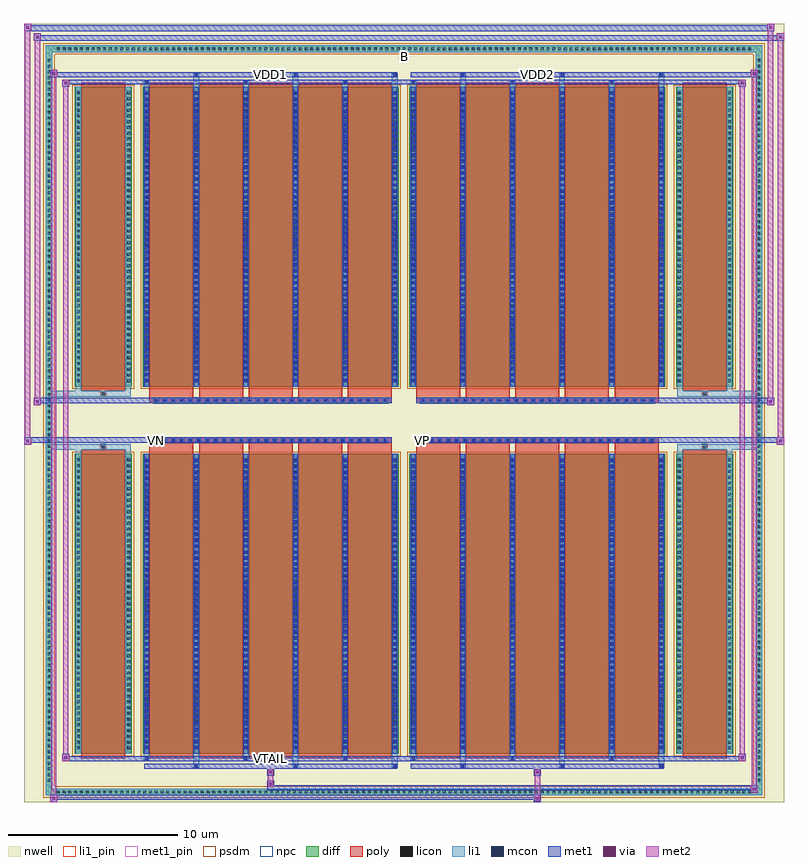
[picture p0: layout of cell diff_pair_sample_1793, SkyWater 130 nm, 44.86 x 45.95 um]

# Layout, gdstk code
import gdstk
lib = gdstk.Library(unit=1e-6, precision=5e-09)
def R(c, l, rs):  # rectangles x0, y0, x1, y1
    for r in rs: c.add(gdstk.rectangle(r[:2], r[2:], *l))
def A(c, l, x, y, w, h, nx, ny, dx, dy):  # array of equal rectangles
    R(c, l, [(x+i*dx, y+j*dy, x+i*dx+w, y+j*dy+h) for i in range(nx) for j in range(ny)])
def P(c, l, *ps):  # polygons
    for p in ps: c.add(gdstk.Polygon(p, *l))
nwell = (64, 20)
diff = (65, 20)
poly = (66, 20)
licon = (66, 44)
li1_pin = (67, 16)
li1 = (67, 20)
mcon = (67, 44)
met1_pin = (68, 16)
met1 = (68, 20)
via = (68, 44)
met2 = (69, 20)
psdm = (94, 20)
npc = (95, 20)

diff_pair_sample_1793 = lib.new_cell('diff_pair_sample_1793')
R(diff_pair_sample_1793, nwell, [(-22.43,-22.54,22.43,23.41), (-19.75,-20.73,-0.01,-0.805), (0.01,-20.73,19.75,-0.805), (-19.75,0.805,-0.01,20.73), (0.01,0.805,19.75,20.73)])
A(diff_pair_sample_1793, diff, -20.605, -22.14, 0.41, 0.41, 121, 2, 0.34, 43.87)
A(diff_pair_sample_1793, diff, -21.16, -21.455, 0.41, 0.41, 1, 126, 0, 0.34)
A(diff_pair_sample_1793, diff, 20.75, -21.455, 0.41, 0.41, 1, 126, 0, 0.34)
R(diff_pair_sample_1793, diff, [(-20.605,-22.14,20.605,-21.73), (-21.16,-21.455,-20.75,21.455), (20.75,-21.455,21.16,21.455), (-19.44,-19.685,-16.06,-1.985), (-15.42,-19.685,-0.32,-1.985), (0.32,-19.685,15.42,-1.985), (16.06,-19.685,19.44,-1.985), (-19.44,1.985,-16.06,19.685), (-15.42,1.985,-0.32,19.685), (0.32,1.985,15.42,19.685), (16.06,1.985,19.44,19.685), (-20.605,21.73,20.605,22.14)])
P(diff_pair_sample_1793, diff, [(21.16,22.14),(-21.16,22.14),(-21.16,-21.73),(-20.75,-21.73),(-20.75,21.73),(20.75,21.73),(20.75,-21.73),(-20.75,-21.73),(-21.16,-21.73),(-21.16,-22.14),(21.16,-22.14)])
A(diff_pair_sample_1793, poly, -15.03, -19.935, 2.6, 18.2, 5, 2, 2.93, 21.67)
A(diff_pair_sample_1793, poly, 0.71, -19.935, 2.6, 18.2, 5, 2, 2.93, 21.67)
A(diff_pair_sample_1793, poly, -15.03, -1.735, 2.6, 0.4, 5, 2, 2.93, 3.07)
A(diff_pair_sample_1793, poly, 0.71, -1.735, 2.6, 0.4, 5, 2, 2.93, 3.07)
A(diff_pair_sample_1793, poly, -14.785, -1.335, 0.33, 0.33, 28, 2, 0.5, 2.34)
A(diff_pair_sample_1793, poly, 0.955, -1.335, 0.33, 0.33, 28, 2, 0.5, 2.34)
R(diff_pair_sample_1793, poly, [(-19.05,-19.935,-16.45,-1.735), (16.45,-19.935,19.05,-1.735), (-17.915,-1.735,-17.585,-1.405), (-17.915,-1.735,-17.585,-1.405), (17.585,-1.735,17.915,-1.405), (17.585,-1.735,17.915,-1.405), (-15.03,-1.335,-0.71,-1.005), (0.71,-1.335,15.03,-1.005), (-15.03,1.005,-0.71,1.335), (0.71,1.005,15.03,1.335), (-17.915,1.405,-17.585,1.735), (-17.915,1.405,-17.585,1.735), (17.585,1.405,17.915,1.735), (17.585,1.405,17.915,1.735), (-19.05,1.735,-16.45,19.935), (16.45,1.735,19.05,19.935)])
A(diff_pair_sample_1793, licon, -20.485, -22.02, 0.17, 0.17, 121, 2, 0.34, 43.87)
A(diff_pair_sample_1793, licon, -21.04, -21.335, 0.17, 0.17, 1, 126, 0, 0.34)
A(diff_pair_sample_1793, licon, 20.87, -21.335, 0.17, 0.17, 1, 126, 0, 0.34)
A(diff_pair_sample_1793, licon, -19.3, -19.42, 0.17, 0.17, 1, 51, 0, 0.34)
A(diff_pair_sample_1793, licon, -16.37, -19.42, 0.17, 0.17, 1, 51, 0, 0.34)
A(diff_pair_sample_1793, licon, -15.28, -19.42, 0.17, 0.17, 6, 51, 2.93, 0.34)
A(diff_pair_sample_1793, licon, 0.46, -19.42, 0.17, 0.17, 6, 51, 2.93, 0.34)
A(diff_pair_sample_1793, licon, 16.2, -19.42, 0.17, 0.17, 1, 51, 0, 0.34)
A(diff_pair_sample_1793, licon, 19.13, -19.42, 0.17, 0.17, 1, 51, 0, 0.34)
A(diff_pair_sample_1793, licon, -14.705, -1.255, 0.17, 0.17, 28, 2, 0.5, 2.34)
A(diff_pair_sample_1793, licon, 1.035, -1.255, 0.17, 0.17, 28, 2, 0.5, 2.34)
A(diff_pair_sample_1793, licon, -19.3, 2.25, 0.17, 0.17, 1, 51, 0, 0.34)
A(diff_pair_sample_1793, licon, -16.37, 2.25, 0.17, 0.17, 1, 51, 0, 0.34)
A(diff_pair_sample_1793, licon, -15.28, 2.25, 0.17, 0.17, 6, 51, 2.93, 0.34)
A(diff_pair_sample_1793, licon, 0.46, 2.25, 0.17, 0.17, 6, 51, 2.93, 0.34)
A(diff_pair_sample_1793, licon, 16.2, 2.25, 0.17, 0.17, 1, 51, 0, 0.34)
A(diff_pair_sample_1793, licon, 19.13, 2.25, 0.17, 0.17, 1, 51, 0, 0.34)
R(diff_pair_sample_1793, licon, [(-17.835,-1.655,-17.665,-1.485), (17.665,-1.655,17.835,-1.485), (-17.835,1.485,-17.665,1.655), (17.665,1.485,17.835,1.655)])
R(diff_pair_sample_1793, li1_pin, [(-0.25,21.23,0.25,21.73)])
A(diff_pair_sample_1793, li1, -20.565, -22.1, 0.33, 0.33, 121, 2, 0.34, 43.87)
A(diff_pair_sample_1793, li1, -21.12, -21.415, 0.33, 0.33, 1, 126, 0, 0.34)
A(diff_pair_sample_1793, li1, 20.79, -21.415, 0.33, 0.33, 1, 126, 0, 0.34)
A(diff_pair_sample_1793, li1, -12.43, -20.49, 0.33, 0.805, 3, 2, 5.86, 40.175)
A(diff_pair_sample_1793, li1, -12.35, -20.49, 0.17, 0.17, 3, 2, 5.86, 40.81)
A(diff_pair_sample_1793, li1, 3.31, -20.49, 0.33, 0.805, 3, 2, 5.86, 40.175)
A(diff_pair_sample_1793, li1, 3.39, -20.49, 0.17, 0.17, 3, 2, 5.86, 40.81)
A(diff_pair_sample_1793, li1, -15.36, -20.06, 0.33, 0.375, 3, 2, 5.86, 39.745)
A(diff_pair_sample_1793, li1, -15.28, -20.06, 0.17, 0.17, 3, 2, 5.86, 39.95)
A(diff_pair_sample_1793, li1, 0.38, -20.06, 0.33, 0.375, 3, 2, 5.86, 39.745)
A(diff_pair_sample_1793, li1, 0.46, -20.06, 0.17, 0.17, 3, 2, 5.86, 39.95)
A(diff_pair_sample_1793, li1, -15.36, -19.685, 0.33, 17.7, 6, 2, 2.93, 21.67)
A(diff_pair_sample_1793, li1, 0.38, -19.685, 0.33, 17.7, 6, 2, 2.93, 21.67)
A(diff_pair_sample_1793, li1, -19.38, -19.5, 0.33, 0.33, 1, 51, 0, 0.34)
A(diff_pair_sample_1793, li1, -16.45, -19.5, 0.33, 0.33, 1, 51, 0, 0.34)
A(diff_pair_sample_1793, li1, -15.36, -19.5, 0.33, 0.33, 6, 51, 2.93, 0.34)
A(diff_pair_sample_1793, li1, 0.38, -19.5, 0.33, 0.33, 6, 51, 2.93, 0.34)
A(diff_pair_sample_1793, li1, 16.12, -19.5, 0.33, 0.33, 1, 51, 0, 0.34)
A(diff_pair_sample_1793, li1, 19.05, -19.5, 0.33, 0.33, 1, 51, 0, 0.34)
A(diff_pair_sample_1793, li1, -15.28, -19.38, 0.17, 0.17, 6, 48, 2.93, 0.36)
A(diff_pair_sample_1793, li1, -15.28, -19.38, 0.17, 17.09, 6, 2, 2.93, 21.67)
A(diff_pair_sample_1793, li1, 0.46, -19.38, 0.17, 0.17, 6, 48, 2.93, 0.36)
A(diff_pair_sample_1793, li1, 0.46, -19.38, 0.17, 17.09, 6, 2, 2.93, 21.67)
A(diff_pair_sample_1793, li1, -14.785, -1.335, 0.33, 0.33, 28, 2, 0.5, 2.34)
A(diff_pair_sample_1793, li1, 0.955, -1.335, 0.33, 0.33, 28, 2, 0.5, 2.34)
A(diff_pair_sample_1793, li1, -19.38, 2.17, 0.33, 0.33, 1, 51, 0, 0.34)
A(diff_pair_sample_1793, li1, -16.45, 2.17, 0.33, 0.33, 1, 51, 0, 0.34)
A(diff_pair_sample_1793, li1, -15.36, 2.17, 0.33, 0.33, 6, 51, 2.93, 0.34)
A(diff_pair_sample_1793, li1, 0.38, 2.17, 0.33, 0.33, 6, 51, 2.93, 0.34)
A(diff_pair_sample_1793, li1, 16.12, 2.17, 0.33, 0.33, 1, 51, 0, 0.34)
A(diff_pair_sample_1793, li1, 19.05, 2.17, 0.33, 0.33, 1, 51, 0, 0.34)
A(diff_pair_sample_1793, li1, -15.28, 2.29, 0.17, 0.17, 6, 48, 2.93, 0.36)
A(diff_pair_sample_1793, li1, 0.46, 2.29, 0.17, 0.17, 6, 48, 2.93, 0.36)
R(diff_pair_sample_1793, li1, [(-21.16,-22.14,-20.75,-21.73), (-21.16,-22.14,-20.75,-21.73), (-20.75,-22.14,20.75,-21.73), (20.75,-22.14,21.16,-21.73), (20.75,-22.14,21.16,-21.73), (-21.16,-21.73,-20.75,21.73), (20.75,-21.73,21.16,21.73), (-19.38,-19.685,-19.05,-1.985), (-16.45,-19.685,-16.12,-1.985), (16.12,-19.685,16.45,-1.985), (19.05,-19.685,19.38,-1.985), (-19.38,-1.985,-19.05,-1.405), (-16.45,-1.985,-16.12,-1.405), (16.12,-1.985,16.45,-1.405), (19.05,-1.985,19.38,-1.405), (-21.16,-1.735,-17.915,-1.405), (-19.38,-1.735,-17.915,-1.405), (-17.915,-1.735,-17.585,-1.405), (-17.585,-1.735,-16.12,-1.405), (16.12,-1.735,17.585,-1.405), (17.585,-1.735,17.915,-1.405), (17.585,-1.735,21.16,-1.405), (17.915,-1.735,19.38,-1.405), (-21.16,1.405,-17.915,1.735), (-19.38,1.405,-17.915,1.735), (-19.38,1.405,-19.05,1.985), (-17.915,1.405,-17.585,1.735), (-17.585,1.405,-16.12,1.735), (-16.45,1.405,-16.12,1.985), (16.12,1.405,17.585,1.735), (16.12,1.405,16.45,1.985), (17.585,1.405,17.915,1.735), (17.585,1.405,21.16,1.735), (17.915,1.405,19.38,1.735), (19.05,1.405,19.38,1.985), (-19.38,1.985,-19.05,19.685), (-16.45,1.985,-16.12,19.685), (16.12,1.985,16.45,19.685), (19.05,1.985,19.38,19.685), (-21.16,21.73,-20.75,22.14), (-21.16,21.73,-20.75,22.14), (-20.75,21.73,20.75,22.14), (20.75,21.73,21.16,22.14), (20.75,21.73,21.16,22.14)])
A(diff_pair_sample_1793, mcon, -12.35, -20.49, 0.17, 0.17, 3, 2, 5.86, 40.81)
A(diff_pair_sample_1793, mcon, 3.39, -20.49, 0.17, 0.17, 3, 2, 5.86, 40.81)
A(diff_pair_sample_1793, mcon, -15.28, -20.06, 0.17, 0.17, 3, 2, 5.86, 39.95)
A(diff_pair_sample_1793, mcon, 0.46, -20.06, 0.17, 0.17, 3, 2, 5.86, 39.95)
A(diff_pair_sample_1793, mcon, -15.28, -19.38, 0.17, 0.17, 6, 48, 2.93, 0.36)
A(diff_pair_sample_1793, mcon, 0.46, -19.38, 0.17, 0.17, 6, 48, 2.93, 0.36)
A(diff_pair_sample_1793, mcon, -14.705, -1.255, 0.17, 0.17, 28, 2, 0.5, 2.34)
A(diff_pair_sample_1793, mcon, 1.035, -1.255, 0.17, 0.17, 28, 2, 0.5, 2.34)
A(diff_pair_sample_1793, mcon, -15.28, 2.29, 0.17, 0.17, 6, 48, 2.93, 0.36)
A(diff_pair_sample_1793, mcon, 0.46, 2.29, 0.17, 0.17, 6, 48, 2.93, 0.36)
R(diff_pair_sample_1793, met1_pin, [(-8.005,-20.1,-7.735,-19.83), (-14.755,-1.295,-14.485,-1.025), (0.985,-1.295,1.255,-1.025), (-8.005,20.28,-7.735,20.55), (7.735,20.28,8.005,20.55)])
A(diff_pair_sample_1793, met1, -12.41, -20.55, 0.29, 0.29, 3, 2, 5.86, 40.81)
A(diff_pair_sample_1793, met1, 3.33, -20.55, 0.29, 0.29, 3, 2, 5.86, 40.81)
A(diff_pair_sample_1793, met1, -15.34, -20.12, 0.29, 0.29, 3, 2, 5.86, 39.95)
A(diff_pair_sample_1793, met1, 0.4, -20.12, 0.29, 0.29, 3, 2, 5.86, 39.95)
A(diff_pair_sample_1793, met1, -15.34, -19.685, 0.29, 17.7, 6, 2, 2.93, 21.67)
A(diff_pair_sample_1793, met1, 0.4, -19.685, 0.29, 17.7, 6, 2, 2.93, 21.67)
A(diff_pair_sample_1793, met1, -15.34, -19.44, 0.29, 0.29, 6, 48, 2.93, 0.36)
A(diff_pair_sample_1793, met1, 0.4, -19.44, 0.29, 0.29, 6, 48, 2.93, 0.36)
A(diff_pair_sample_1793, met1, -14.765, -1.315, 0.29, 0.29, 28, 2, 0.5, 2.34)
A(diff_pair_sample_1793, met1, 0.975, -1.315, 0.29, 0.29, 28, 2, 0.5, 2.34)
A(diff_pair_sample_1793, met1, -15.34, 2.23, 0.29, 0.29, 6, 48, 2.93, 0.36)
A(diff_pair_sample_1793, met1, 0.4, 2.23, 0.29, 0.29, 6, 48, 2.93, 0.36)
R(diff_pair_sample_1793, met1, [(-20.89,-22.54,-20.46,-22.11), (7.655,-22.54,8.085,-22.11), (-20.89,-22.4,8.085,-22.11), (20.46,-21.97,20.89,-21.54), (-8.085,-21.83,20.89,-21.54), (-8.085,-21.69,-7.655,-21.26), (-8.085,-20.98,-7.655,-20.55), (7.655,-20.98,8.085,-20.55), (-15.34,-20.55,-0.4,-20.26), (0.4,-20.55,15.34,-20.26), (-20.18,-20.12,-19.75,-19.69), (-20.18,-20.12,-15.34,-19.83), (-15.34,-20.12,-0.4,-19.83), (-0.4,-20.12,0.4,-19.83), (0.4,-20.12,15.34,-19.83), (15.34,-20.12,20.18,-19.83), (19.75,-20.12,20.18,-19.69), (-22.43,-1.435,-22,-1.005), (22,-1.435,22.43,-1.005), (-22.43,-1.335,-0.71,-1.005), (-15.03,-1.335,-0.71,-1.005), (0.71,-1.335,15.03,-1.005), (0.71,-1.335,22.43,-1.005), (-21.86,0.905,-21.43,1.335), (21.43,0.905,21.86,1.335), (-21.86,1.005,-15.03,1.335), (-15.03,1.005,-0.71,1.335), (0.71,1.005,15.03,1.335), (15.03,1.005,21.86,1.335), (-20.18,19.69,-19.75,20.12), (19.75,19.69,20.18,20.12), (-20.18,19.83,-15.34,20.12), (-15.34,19.83,-0.4,20.12), (-0.4,19.83,0.4,20.12), (0.4,19.83,15.34,20.12), (15.34,19.83,20.18,20.12), (-20.89,20.26,-20.46,20.69), (-20.89,20.26,-15.34,20.55), (-15.34,20.26,-0.4,20.55), (0.4,20.26,15.34,20.55), (15.34,20.26,20.89,20.55), (20.46,20.26,20.89,20.69), (-21.86,22.41,-21.43,22.84), (-21.86,22.41,-19.75,22.74), (-19.75,22.41,19.75,22.74), (19.75,22.41,22.43,22.74), (22,22.41,22.43,22.84), (-22.43,22.98,-22,23.41), (-22.43,22.98,-19.75,23.31), (-19.75,22.98,19.75,23.31), (19.75,22.98,21.86,23.31), (21.43,22.98,21.86,23.41)])
R(diff_pair_sample_1793, via, [(-20.75,-22.4,-20.6,-22.25), (7.795,-22.4,7.945,-22.25), (20.6,-21.83,20.75,-21.68), (-7.945,-21.55,-7.795,-21.4), (-7.945,-20.84,-7.795,-20.69), (7.795,-20.84,7.945,-20.69), (-20.04,-19.98,-19.89,-19.83), (19.89,-19.98,20.04,-19.83), (-22.29,-1.295,-22.14,-1.145), (22.14,-1.295,22.29,-1.145), (-21.72,1.045,-21.57,1.195), (21.57,1.045,21.72,1.195), (-20.04,19.83,-19.89,19.98), (19.89,19.83,20.04,19.98), (-20.75,20.4,-20.6,20.55), (20.6,20.4,20.75,20.55), (-21.72,22.55,-21.57,22.7), (22.14,22.55,22.29,22.7), (-22.29,23.12,-22.14,23.27), (21.57,23.12,21.72,23.27)])
R(diff_pair_sample_1793, met2, [(-20.89,-22.54,-20.46,-22.11), (-20.82,-22.54,-20.53,20.69), (-20.53,-22.54,-20.46,-22.11), (-20.84,-22.49,-20.51,-22.16), (7.705,-22.49,8.035,-22.16), (7.705,-22.16,8.035,-20.93), (20.46,-21.97,20.89,-21.54), (20.53,-21.97,20.82,20.69), (20.82,-21.97,20.89,-21.54), (20.51,-21.92,20.84,-21.59), (-8.035,-21.64,-7.705,-21.31), (-8.035,-21.31,-7.705,-20.93), (-8.035,-20.93,-7.705,-20.6), (7.705,-20.93,8.035,-20.6), (-20.18,-20.12,-19.75,-19.69), (-20.11,-20.12,-19.82,20.12), (-19.82,-20.12,-19.75,-19.69), (19.75,-20.12,20.18,-19.69), (19.82,-20.12,20.11,20.12), (20.11,-20.12,20.18,-19.69), (-20.13,-20.07,-19.8,-19.74), (19.8,-20.07,20.13,-19.74), (-22.43,-1.435,-22,-1.005), (-22.38,-1.435,-22.05,23.41), (-22.05,-1.435,-22,-1.005), (22,-1.435,22.43,-1.005), (22.05,-1.435,22.38,22.84), (22.38,-1.435,22.43,-1.005), (-22.38,-1.385,-22.05,-1.055), (22.05,-1.385,22.38,-1.055), (-21.86,0.905,-21.43,1.335), (-21.81,0.905,-21.48,22.84), (-21.48,0.905,-21.43,1.335), (21.43,0.905,21.86,1.335), (21.48,0.905,21.81,23.41), (21.81,0.905,21.86,1.335), (-21.81,0.955,-21.48,1.285), (21.48,0.955,21.81,1.285), (-20.18,19.69,-19.75,20.12), (-19.82,19.69,-19.75,20.12), (19.75,19.69,20.18,20.12), (20.11,19.69,20.18,20.12), (-20.13,19.74,-19.8,20.07), (19.8,19.74,20.13,20.07), (-20.89,20.26,-20.46,20.69), (-20.53,20.26,-20.46,20.69), (20.46,20.26,20.89,20.69), (20.82,20.26,20.89,20.69), (-20.84,20.31,-20.51,20.64), (20.51,20.31,20.84,20.64), (-21.86,22.41,-21.43,22.84), (-21.48,22.41,-21.43,22.84), (22,22.41,22.43,22.84), (22.38,22.41,22.43,22.84), (-21.81,22.46,-21.48,22.79), (22.05,22.46,22.38,22.79), (-22.43,22.98,-22,23.41), (-22.05,22.98,-22,23.41), (21.43,22.98,21.86,23.41), (21.81,22.98,21.86,23.41), (-22.38,23.03,-22.05,23.36), (21.48,23.03,21.81,23.36)])
R(diff_pair_sample_1793, psdm, [(-19.57,-19.815,-15.93,-1.855), (-15.55,-19.815,-0.19,-1.855), (0.19,-19.815,15.55,-1.855), (15.93,-19.815,19.57,-1.855), (-19.57,1.855,-15.93,19.815), (-15.55,1.855,-0.19,19.815), (0.19,1.855,15.55,19.815), (15.93,1.855,19.57,19.815)])
P(diff_pair_sample_1793, psdm, [(21.29,22.27),(-21.29,22.27),(-21.29,-21.6),(-20.62,-21.6),(-20.62,21.6),(20.62,21.6),(20.62,-21.6),(-20.62,-21.6),(-21.29,-21.6),(-21.29,-22.27),(21.29,-22.27)])
A(diff_pair_sample_1793, npc, -14.805, -1.355, 0.37, 0.37, 28, 2, 0.5, 2.34)
A(diff_pair_sample_1793, npc, 0.935, -1.355, 0.37, 0.37, 28, 2, 0.5, 2.34)
R(diff_pair_sample_1793, npc, [(-17.935,-1.755,-17.565,-1.385), (17.565,-1.755,17.935,-1.385), (-14.805,-1.355,-13.935,-0.985), (-14.805,-1.355,-13.935,-0.985), (-14.305,-1.355,-13.435,-0.985), (-14.305,-1.355,-13.435,-0.985), (-13.805,-1.355,-12.935,-0.985), (-13.805,-1.355,-12.935,-0.985), (-13.305,-1.355,-12.435,-0.985), (-13.305,-1.355,-12.435,-0.985), (-12.805,-1.355,-11.935,-0.985), (-12.805,-1.355,-11.935,-0.985), (-12.305,-1.355,-11.435,-0.985), (-12.305,-1.355,-11.435,-0.985), (-11.805,-1.355,-10.935,-0.985), (-11.805,-1.355,-10.935,-0.985), (-11.305,-1.355,-10.435,-0.985), (-11.305,-1.355,-10.435,-0.985), (-10.805,-1.355,-9.935,-0.985), (-10.805,-1.355,-9.935,-0.985), (-10.305,-1.355,-9.435,-0.985), (-10.305,-1.355,-9.435,-0.985), (-9.805,-1.355,-8.935,-0.985), (-9.805,-1.355,-8.935,-0.985), (-9.305,-1.355,-8.435,-0.985), (-9.305,-1.355,-8.435,-0.985), (-8.805,-1.355,-7.935,-0.985), (-8.805,-1.355,-7.935,-0.985), (-8.305,-1.355,-7.435,-0.985), (-8.305,-1.355,-7.435,-0.985), (-7.805,-1.355,-6.935,-0.985), (-7.805,-1.355,-6.935,-0.985), (-7.305,-1.355,-6.435,-0.985), (-7.305,-1.355,-6.435,-0.985), (-6.805,-1.355,-5.935,-0.985), (-6.805,-1.355,-5.935,-0.985), (-6.305,-1.355,-5.435,-0.985), (-6.305,-1.355,-5.435,-0.985), (-5.805,-1.355,-4.935,-0.985), (-5.805,-1.355,-4.935,-0.985), (-5.305,-1.355,-4.435,-0.985), (-5.305,-1.355,-4.435,-0.985), (-4.805,-1.355,-3.935,-0.985), (-4.805,-1.355,-3.935,-0.985), (-4.305,-1.355,-3.435,-0.985), (-4.305,-1.355,-3.435,-0.985), (-3.805,-1.355,-2.935,-0.985), (-3.805,-1.355,-2.935,-0.985), (-3.305,-1.355,-2.435,-0.985), (-3.305,-1.355,-2.435,-0.985), (-2.805,-1.355,-1.935,-0.985), (-2.805,-1.355,-1.935,-0.985), (-2.305,-1.355,-1.435,-0.985), (-2.305,-1.355,-1.435,-0.985), (-1.805,-1.355,-0.935,-0.985), (-1.805,-1.355,-0.935,-0.985), (0.935,-1.355,1.805,-0.985), (0.935,-1.355,1.805,-0.985), (1.435,-1.355,2.305,-0.985), (1.435,-1.355,2.305,-0.985), (1.935,-1.355,2.805,-0.985), (1.935,-1.355,2.805,-0.985), (2.435,-1.355,3.305,-0.985), (2.435,-1.355,3.305,-0.985), (2.935,-1.355,3.805,-0.985), (2.935,-1.355,3.805,-0.985), (3.435,-1.355,4.305,-0.985), (3.435,-1.355,4.305,-0.985), (3.935,-1.355,4.805,-0.985), (3.935,-1.355,4.805,-0.985), (4.435,-1.355,5.305,-0.985), (4.435,-1.355,5.305,-0.985), (4.935,-1.355,5.805,-0.985), (4.935,-1.355,5.805,-0.985), (5.435,-1.355,6.305,-0.985), (5.435,-1.355,6.305,-0.985), (5.935,-1.355,6.805,-0.985), (5.935,-1.355,6.805,-0.985), (6.435,-1.355,7.305,-0.985), (6.435,-1.355,7.305,-0.985), (6.935,-1.355,7.805,-0.985), (6.935,-1.355,7.805,-0.985), (7.435,-1.355,8.305,-0.985), (7.435,-1.355,8.305,-0.985), (7.935,-1.355,8.805,-0.985), (7.935,-1.355,8.805,-0.985), (8.435,-1.355,9.305,-0.985), (8.435,-1.355,9.305,-0.985), (8.935,-1.355,9.805,-0.985), (8.935,-1.355,9.805,-0.985), (9.435,-1.355,10.305,-0.985), (9.435,-1.355,10.305,-0.985), (9.935,-1.355,10.805,-0.985), (9.935,-1.355,10.805,-0.985), (10.435,-1.355,11.305,-0.985), (10.435,-1.355,11.305,-0.985), (10.935,-1.355,11.805,-0.985), (10.935,-1.355,11.805,-0.985), (11.435,-1.355,12.305,-0.985), (11.435,-1.355,12.305,-0.985), (11.935,-1.355,12.805,-0.985), (11.935,-1.355,12.805,-0.985), (12.435,-1.355,13.305,-0.985), (12.435,-1.355,13.305,-0.985), (12.935,-1.355,13.805,-0.985), (12.935,-1.355,13.805,-0.985), (13.435,-1.355,14.305,-0.985), (13.435,-1.355,14.305,-0.985), (13.935,-1.355,14.805,-0.985), (13.935,-1.355,14.805,-0.985), (-14.805,0.985,-13.935,1.355), (-14.805,0.985,-13.935,1.355), (-14.305,0.985,-13.435,1.355), (-14.305,0.985,-13.435,1.355), (-13.805,0.985,-12.935,1.355), (-13.805,0.985,-12.935,1.355), (-13.305,0.985,-12.435,1.355), (-13.305,0.985,-12.435,1.355), (-12.805,0.985,-11.935,1.355), (-12.805,0.985,-11.935,1.355), (-12.305,0.985,-11.435,1.355), (-12.305,0.985,-11.435,1.355), (-11.805,0.985,-10.935,1.355), (-11.805,0.985,-10.935,1.355), (-11.305,0.985,-10.435,1.355), (-11.305,0.985,-10.435,1.355), (-10.805,0.985,-9.935,1.355), (-10.805,0.985,-9.935,1.355), (-10.305,0.985,-9.435,1.355), (-10.305,0.985,-9.435,1.355), (-9.805,0.985,-8.935,1.355), (-9.805,0.985,-8.935,1.355), (-9.305,0.985,-8.435,1.355), (-9.305,0.985,-8.435,1.355), (-8.805,0.985,-7.935,1.355), (-8.805,0.985,-7.935,1.355), (-8.305,0.985,-7.435,1.355), (-8.305,0.985,-7.435,1.355), (-7.805,0.985,-6.935,1.355), (-7.805,0.985,-6.935,1.355), (-7.305,0.985,-6.435,1.355), (-7.305,0.985,-6.435,1.355), (-6.805,0.985,-5.935,1.355), (-6.805,0.985,-5.935,1.355), (-6.305,0.985,-5.435,1.355), (-6.305,0.985,-5.435,1.355), (-5.805,0.985,-4.935,1.355), (-5.805,0.985,-4.935,1.355), (-5.305,0.985,-4.435,1.355), (-5.305,0.985,-4.435,1.355), (-4.805,0.985,-3.935,1.355), (-4.805,0.985,-3.935,1.355), (-4.305,0.985,-3.435,1.355), (-4.305,0.985,-3.435,1.355), (-3.805,0.985,-2.935,1.355), (-3.805,0.985,-2.935,1.355), (-3.305,0.985,-2.435,1.355), (-3.305,0.985,-2.435,1.355), (-2.805,0.985,-1.935,1.355), (-2.805,0.985,-1.935,1.355), (-2.305,0.985,-1.435,1.355), (-2.305,0.985,-1.435,1.355), (-1.805,0.985,-0.935,1.355), (-1.805,0.985,-0.935,1.355), (0.935,0.985,1.805,1.355), (0.935,0.985,1.805,1.355), (1.435,0.985,2.305,1.355), (1.435,0.985,2.305,1.355), (1.935,0.985,2.805,1.355), (1.935,0.985,2.805,1.355), (2.435,0.985,3.305,1.355), (2.435,0.985,3.305,1.355), (2.935,0.985,3.805,1.355), (2.935,0.985,3.805,1.355), (3.435,0.985,4.305,1.355), (3.435,0.985,4.305,1.355), (3.935,0.985,4.805,1.355), (3.935,0.985,4.805,1.355), (4.435,0.985,5.305,1.355), (4.435,0.985,5.305,1.355), (4.935,0.985,5.805,1.355), (4.935,0.985,5.805,1.355), (5.435,0.985,6.305,1.355), (5.435,0.985,6.305,1.355), (5.935,0.985,6.805,1.355), (5.935,0.985,6.805,1.355), (6.435,0.985,7.305,1.355), (6.435,0.985,7.305,1.355), (6.935,0.985,7.805,1.355), (6.935,0.985,7.805,1.355), (7.435,0.985,8.305,1.355), (7.435,0.985,8.305,1.355), (7.935,0.985,8.805,1.355), (7.935,0.985,8.805,1.355), (8.435,0.985,9.305,1.355), (8.435,0.985,9.305,1.355), (8.935,0.985,9.805,1.355), (8.935,0.985,9.805,1.355), (9.435,0.985,10.305,1.355), (9.435,0.985,10.305,1.355), (9.935,0.985,10.805,1.355), (9.935,0.985,10.805,1.355), (10.435,0.985,11.305,1.355), (10.435,0.985,11.305,1.355), (10.935,0.985,11.805,1.355), (10.935,0.985,11.805,1.355), (11.435,0.985,12.305,1.355), (11.435,0.985,12.305,1.355), (11.935,0.985,12.805,1.355), (11.935,0.985,12.805,1.355), (12.435,0.985,13.305,1.355), (12.435,0.985,13.305,1.355), (12.935,0.985,13.805,1.355), (12.935,0.985,13.805,1.355), (13.435,0.985,14.305,1.355), (13.435,0.985,14.305,1.355), (13.935,0.985,14.805,1.355), (13.935,0.985,14.805,1.355), (-17.935,1.385,-17.565,1.755), (17.565,1.385,17.935,1.755)])
diff_pair_sample_1793.add(gdstk.Label('VTAIL', (-7.87,-19.965), layer=68, texttype=5))
diff_pair_sample_1793.add(gdstk.Label('VN', (-14.62,-1.16), layer=68, texttype=5))
diff_pair_sample_1793.add(gdstk.Label('VP', (1.12,-1.16), layer=68, texttype=5))
diff_pair_sample_1793.add(gdstk.Label('B', (0,21.48), layer=67, texttype=5))
diff_pair_sample_1793.add(gdstk.Label('VDD2', (7.87,20.415), layer=68, texttype=5))
diff_pair_sample_1793.add(gdstk.Label('VDD1', (-7.87,20.415), layer=68, texttype=5))

lib.write_gds('diff_pair_sample_1793.gds')
